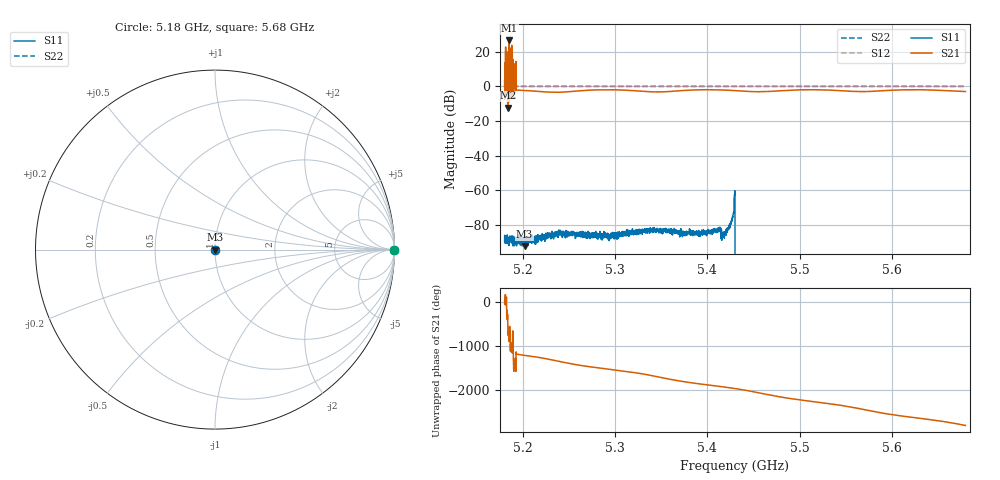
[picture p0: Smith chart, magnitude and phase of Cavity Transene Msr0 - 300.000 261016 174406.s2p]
# HZ S DB R 50
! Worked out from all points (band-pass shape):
!   5000 points, 5.18 GHz to 5.68 GHz, reference 50 ohm
!   highest |S21| = 26.49 dB at 5.185 GHz (marker M1); lowest = -12.4 dB at 5.183 GHz (marker M2)
!   |S21| within 3 dB of the highest: 5.184986 GHz to 5.185013 GHz (26.94 kHz wide, 0.00052 % of centre); 5.187799 GHz to 5.187803 GHz (4.217 kHz wide, 8.13e-05 % of centre)
!   lowest |S11| = -92.2 dB at 5.202 GHz (marker M3), VSWR 1.00, Z = 50 + j0.00146 ohm
!   |S11| at or under -10 dB: start of sweep to end of sweep
!   |S22| runs from 0.0 to 0.0 dB; largest |S21 - S12| = 22
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5.18e9  -89.23 95.8  -0.11 14.3  0.00 0.0  0.00 0.0
5.183401e9  -87.58 89.8  -12.36 -146.6  0.00 0.0  0.00 0.0
5.185001e9  -88.96 81.3  26.49 175.1  0.00 0.0  0.00 0.0
5.189602e9  -89.49 54.6  6.72 128.7  0.00 0.0  0.00 0.0
5.194903e9  -89.62 53.3  -2.20 -110.6  0.00 0.0  0.00 0.0
5.201604e9  -92.18 36.5  -2.36 -128.9  0.00 0.0  0.00 0.0
5.237312e9  -84.88 -66.9  -3.41 99.6  0.00 0.0  0.00 0.0
5.263417e9  -85.01 -162.3  -2.46 -1.7  0.00 0.0  0.00 0.0
5.300024e9  -86.08 84.3  -1.99 -101.6  0.00 0.0  0.00 0.0
5.325729e9  -83.58 8.8  -2.68 -176.7  0.00 0.0  0.00 0.0
5.346733e9  -83.38 -65.6  -3.20 101.6  0.00 0.0  0.00 0.0
5.376939e9  -84.07 -167.7  -2.28 -13.4  0.00 0.0  0.00 0.0
5.403645e9  -84.14 121.3  -1.94 -87.6  0.00 0.0  0.00 0.0
5.43005e9  -200.00 0.0  -2.44 -161.1  0.00 0.0  0.00 0.0
5.460956e9  -200.00 0.0  -3.07 81.4  0.00 0.0  0.00 0.0
5.483861e9  -200.00 0.0  -2.36 -6.5  0.00 0.0  0.00 0.0
5.513367e9  -200.00 0.0  -1.93 -90.9  0.00 0.0  0.00 0.0
5.543273e9  -200.00 0.0  -2.44 -174.3  0.00 0.0  0.00 0.0
5.566877e9  -200.00 0.0  -3.00 98.0  0.00 0.0  0.00 0.0
5.596683e9  -200.00 0.0  -2.31 -17.5  0.00 0.0  0.00 0.0
5.649694e9  -200.00 0.0  -2.24 -164.3  0.00 0.0  0.00 0.0
5.68e9  -200.00 0.0  -2.96 86.6  0.00 0.0  0.00 0.0
